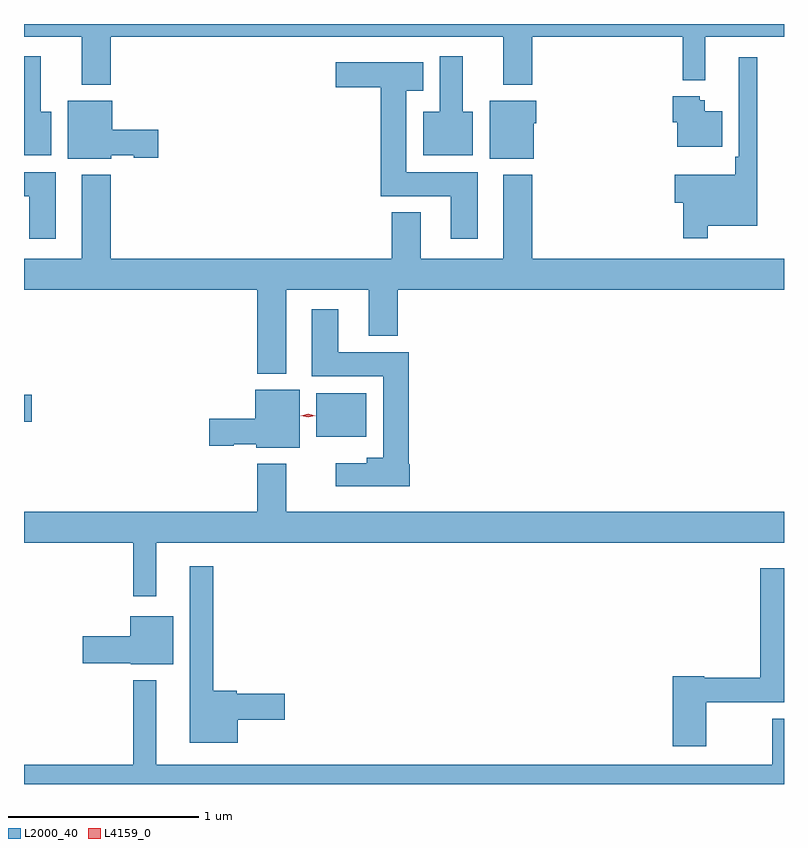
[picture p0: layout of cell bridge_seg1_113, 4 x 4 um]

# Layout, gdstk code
import gdstk
lib = gdstk.Library(unit=1e-6, precision=1e-09)
def R(c, l, rs):  # rectangles x0, y0, x1, y1
    for r in rs: c.add(gdstk.rectangle(r[:2], r[2:], *l))
def P(c, l, *ps):  # polygons
    for p in ps: c.add(gdstk.Polygon(p, *l))
L2000_40 = (2000, 40)
L4159_0 = (4159, 0)

bridge_seg1_113 = lib.new_cell('bridge_seg1_113')
R(bridge_seg1_113, L2000_40, [(312.863,556.286,313.126,556.516), (311.324,556.366,311.365,556.508)])
P(bridge_seg1_113, L2000_40, [(311.78,558.392),(313.847,558.392),(313.847,558.14),(314,558.14),(314,558.392),(314.791,558.392),(314.791,558.164),(314.909,558.164),(314.909,558.392),(315.324,558.392),(315.324,558.459),(311.324,558.459),(311.324,558.392),(311.627,558.392),(311.627,558.14),(311.78,558.14)],
  [(311.467,557.998),(311.413,557.998),(311.413,558.289),(311.324,558.289),(311.324,557.768),(311.467,557.768)],
  [(313.687,557.998),(313.633,557.998),(313.633,558.289),(313.511,558.289),(313.511,557.998),(313.424,557.998),(313.424,557.768),(313.687,557.768)],
  [(314.923,557.396),(315.184,557.396),(315.184,558.283),(315.087,558.283),(315.087,557.761),(315.067,557.761),(315.067,557.665),(314.75,557.665),(314.75,557.518),(314.794,557.518),(314.794,557.331),(314.923,557.331)],
  [(313.711,557.68),(313.336,557.68),(313.336,558.107),(313.426,558.107),(313.426,558.259),(312.966,558.259),(312.966,558.125),(313.202,558.125),(313.202,557.552),(313.571,557.552),(313.571,557.328),(313.711,557.328)],
  [(314.998,558.001),(314.908,558.001),(314.908,558.057),(314.88,558.057),(314.88,558.079),(314.738,558.079),(314.738,557.943),(314.762,557.943),(314.762,557.813),(314.998,557.813)],
  [(314.008,557.937),(314.02,557.937),(314.02,558.055),(313.775,558.055),(313.775,557.75),(314.008,557.75)],
  [(311.784,557.768),(311.901,557.768),(311.901,557.756),(312.031,557.756),(312.031,557.903),(311.788,557.903),(311.788,558.055),(311.555,558.055),(311.555,557.75),(311.784,557.75)],
  [(311.491,557.68),(311.324,557.68),(311.324,557.552),(311.351,557.552),(311.351,557.328),(311.491,557.328)],
  [(312.703,557.06),(313.139,557.06),(313.139,556.817),(313.292,556.817),(313.292,557.06),(315.324,557.06),(315.324,557.224),(314,557.224),(314,557.665),(313.847,557.665),(313.847,557.224),(313.411,557.224),(313.411,557.467),(313.259,557.467),(313.259,557.224),(311.78,557.224),(311.78,557.665),(311.627,557.665),(311.627,557.224),(311.324,557.224),(311.324,557.06),(312.551,557.06),(312.551,556.619),(312.703,556.619)],
  [(313.354,556.143),(313.349,556.143),(313.349,556.732),(312.979,556.732),(312.979,556.957),(312.839,556.957),(312.839,556.604),(313.214,556.604),(313.214,556.177),(313.127,556.177),(313.127,556.147),(312.966,556.147),(312.966,556.025),(313.354,556.025)],
  [(312.775,556.534),(312.542,556.534),(312.542,556.382),(312.3,556.382),(312.3,556.24),(312.429,556.24),(312.429,556.247),(312.546,556.247),(312.546,556.229),(312.775,556.229)],
  [(312.019,555.728),(315.324,555.728),(315.324,555.892),(312.703,555.892),(312.703,556.144),(312.551,556.144),(312.551,555.892),(311.324,555.892),(311.324,555.728),(311.898,555.728),(311.898,555.447),(312.019,555.447)],
  [(312.448,554.798),(312.697,554.798),(312.697,554.933),(312.444,554.933),(312.444,554.951),(312.319,554.951),(312.319,555.604),(312.197,555.604),(312.197,554.675),(312.448,554.675)],
  [(314.916,554.889),(315.216,554.889),(315.216,554.888),(315.324,554.888),(315.324,555.595),(315.2,555.595),(315.2,555.017),(314.904,555.017),(314.904,555.025),(314.738,555.025),(314.738,554.658),(314.916,554.658)],
  [(312.109,555.343),(311.882,555.343),(311.882,555.237),(311.634,555.237),(311.634,555.095),(311.886,555.095),(311.886,555.089),(312.109,555.089)],
  [(315.324,554.803),(315.262,554.803),(315.262,554.56),(312.019,554.56),(312.019,555.004),(311.898,555.004),(311.898,554.56),(311.324,554.56),(311.324,554.459),(315.324,554.459)])
P(bridge_seg1_113, L4159_0, [(312.82,556.388),(312.781,556.398),(312.781,556.398),(312.781,556.398),(312.82,556.408),(312.858,556.398),(312.858,556.398),(312.858,556.398)])

lib.write_gds('bridge_seg1_113.gds')
